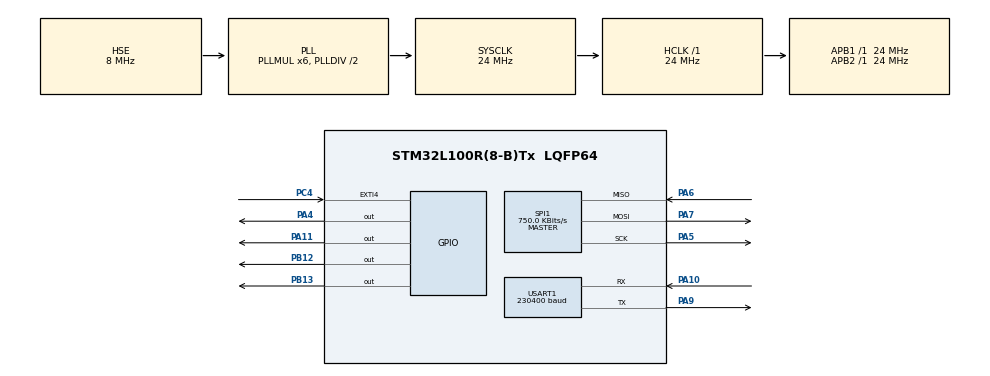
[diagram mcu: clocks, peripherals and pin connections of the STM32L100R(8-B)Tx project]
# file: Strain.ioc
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Mcu.Family=STM32L1
Mcu.Name=STM32L100R(8-B)Tx
Mcu.Package=LQFP64
NVIC.EXTI4_IRQn=true\:3\:0\:true\:false\:true\:true
NVIC.PriorityGroup=NVIC_PRIORITYGROUP_4
NVIC.RCC_IRQn=true\:0\:0\:false\:false\:true\:true
NVIC.SPI1_IRQn=true\:2\:0\:true\:false\:true\:true
NVIC.USART1_IRQn=true\:1\:0\:true\:false\:true\:true
PA10.Mode=Asynchronous
PA10.Signal=USART1_RX
PA11.GPIO_Speed=GPIO_SPEED_FREQ_VERY_HIGH
PA11.Signal=GPIO_Output
PA13.Mode=Serial_Wire
PA13.Signal=SYS_JTMS-SWDIO
PA14.Mode=Serial_Wire
PA14.Signal=SYS_JTCK-SWCLK
PA4.Signal=GPIO_Output
PA5.Mode=Full_Duplex_Master
PA5.Signal=SPI1_SCK
PA6.Mode=Full_Duplex_Master
PA6.Signal=SPI1_MISO
PA7.Mode=Full_Duplex_Master
PA7.Signal=SPI1_MOSI
PA9.Mode=Asynchronous
PA9.Signal=USART1_TX
PB12.Signal=GPIO_Output
PB13.Signal=GPIO_Output
PC4.Signal=GPXTI4
PH0-OSC_IN.Mode=HSE-External-Oscillator
PH0-OSC_IN.Signal=RCC_OSC_IN
PH1-OSC_OUT.Mode=HSE-External-Oscillator
PH1-OSC_OUT.Signal=RCC_OSC_OUT
ProjectManager.HeapSize=0x200
ProjectManager.StackSize=0x400
ProjectManager.TargetToolchain=MDK-ARM V5
RCC.48MHZClocksFreq_Value=24000000
RCC.AHBFreq_Value=24000000
RCC.APB1Freq_Value=24000000
RCC.APB1TimFreq_Value=24000000
RCC.APB2Freq_Value=24000000
RCC.APB2TimFreq_Value=24000000
RCC.HCLKFreq_Value=24000000
RCC.HSE_VALUE=8000000
RCC.HSI_VALUE=16000000
RCC.LSE_VALUE=32768
RCC.MSI_VALUE=2097000
RCC.PLLMUL=RCC_PLL_MUL6
RCC.PLLSourceVirtual=RCC_PLLSOURCE_HSE
RCC.SYSCLKFreq_VALUE=24000000
RCC.SYSCLKSource=RCC_SYSCLKSOURCE_PLLCLK
RCC.VCOOutputFreq_Value=48000000
SPI1.BaudRatePrescaler=SPI_BAUDRATEPRESCALER_32
SPI1.CLKPhase=SPI_PHASE_2EDGE
SPI1.CalculateBaudRate=750.0 KBits/s
SPI1.Direction=SPI_DIRECTION_2LINES
SPI1.Mode=SPI_MODE_MASTER
SPI1.VirtualType=VM_MASTER
USART1.BaudRate=230400
USART1.VirtualMode=VM_ASYNC
board=Strain

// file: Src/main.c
/**
  ******************************************************************************
  * @file           : main.c
  * @brief          : Main program body
  ******************************************************************************
  ** This notice applies to any and all portions of this file
  * that are not between comment pairs USER CODE BEGIN and
  * USER CODE END. Other portions of this file, whether
  * inserted by the user or by software development tools
  * are owned by their respective copyright owners.
  *
  * COPYRIGHT(c) 2018 STMicroelectronics
  *
  * Redistribution and use in source and binary forms, with or without modification,
  * are permitted provided that the following conditions are met:
  *   1. Redistributions of source code must retain the above copyright notice,
  *      this list of conditions and the following disclaimer.
  *   2. Redistributions in binary form must reproduce the above copyright notice,
  *      this list of conditions and the following disclaimer in the documentation
  *      and/or other materials provided with the distribution.
  *   3. Neither the name of STMicroelectronics nor the names of its contributors
  *      may be used to endorse or promote products derived from this software
  *      without specific prior written permission.
  *
  * THIS SOFTWARE IS PROVIDED BY THE COPYRIGHT HOLDERS AND CONTRIBUTORS "AS IS"
  * AND ANY EXPRESS OR IMPLIED WARRANTIES, INCLUDING, BUT NOT LIMITED TO, THE
  * IMPLIED WARRANTIES OF MERCHANTABILITY AND FITNESS FOR A PARTICULAR PURPOSE ARE
  * DISCLAIMED. IN NO EVENT SHALL THE COPYRIGHT HOLDER OR CONTRIBUTORS BE LIABLE
  * FOR ANY DIRECT, INDIRECT, INCIDENTAL, SPECIAL, EXEMPLARY, OR CONSEQUENTIAL
  * DAMAGES (INCLUDING, BUT NOT LIMITED TO, PROCUREMENT OF SUBSTITUTE GOODS OR
  * SERVICES; LOSS OF USE, DATA, OR PROFITS; OR BUSINESS INTERRUPTION) HOWEVER
  * CAUSED AND ON ANY THEORY OF LIABILITY, WHETHER IN CONTRACT, STRICT LIABILITY,
  * OR TORT (INCLUDING NEGLIGENCE OR OTHERWISE) ARISING IN ANY WAY OUT OF THE USE
  * OF THIS SOFTWARE, EVEN IF ADVISED OF THE POSSIBILITY OF SUCH DAMAGE.
  *
  ******************************************************************************
  */
#include "main.h"
#include "stm32l1xx_hal.h"

SPI_HandleTypeDef hspi1;

UART_HandleTypeDef huart1;

/* USER CODE BEGIN PV */
/* Private variables ---------------------------------------------------------*/
#define    DWT_CYCCNT    *(volatile unsigned long *)0xE0001004
#define    DWT_CONTROL   *(volatile unsigned long *)0xE0001000
#define    SCB_DEMCR     *(volatile unsigned long *)0xE000EDFC
uint32_t count_tic = 0;
uint8_t com0;
/* USER CODE END PV */

void SystemClock_Config(void);
static void MX_GPIO_Init(void);
static void MX_SPI1_Init(void);
static void MX_USART1_UART_Init(void);

/* USER CODE BEGIN PFP */
/* Private function prototypes -----------------------------------------------*/
void ADC_Config(void);

/* USER CODE END PFP */

int main(void)
{

  /* MCU Configuration----------------------------------------------------------*/

  /* Reset of all peripherals, Initializes the Flash interface and the Systick. */
  HAL_Init();

  /* Configure the system clock */
  SystemClock_Config();

  /* Initialize all configured peripherals */
  MX_GPIO_Init();
  MX_SPI1_Init();
  MX_USART1_UART_Init();
  /* USER CODE BEGIN 2 */

	USART1->CR1 |= USART_CR1_RXNEIE;
//	HAL_NVIC_EnableIRQ(EXTI4_IRQn);

	HAL_GPIO_WritePin(GPIOA, GPIO_PIN_4, GPIO_PIN_RESET); // CS = 0
	HAL_GPIO_WritePin(GPIOA, GPIO_PIN_11, GPIO_PIN_RESET);
	ADC_Config();

  /* USER CODE END 2 */

  /* Infinite loop */
  /* USER CODE BEGIN WHILE */
  while (1)
  {
//		uint8_t sync1 = 0x55;
  /* USER CODE END WHILE */

  /* USER CODE BEGIN 3 */
	HAL_UART_Receive_IT(&huart1, &com0, 1);
  }
  /* USER CODE END 3 */

}

void SystemClock_Config(void)
{

  RCC_OscInitTypeDef RCC_OscInitStruct;
  RCC_ClkInitTypeDef RCC_ClkInitStruct;

    /**Configure the main internal regulator output voltage
    */
  __HAL_PWR_VOLTAGESCALING_CONFIG(PWR_REGULATOR_VOLTAGE_SCALE1);

    /**Initializes the CPU, AHB and APB busses clocks
    */
  RCC_OscInitStruct.OscillatorType = RCC_OSCILLATORTYPE_HSE;
  RCC_OscInitStruct.HSEState = RCC_HSE_ON;
  RCC_OscInitStruct.PLL.PLLState = RCC_PLL_ON;
  RCC_OscInitStruct.PLL.PLLSource = RCC_PLLSOURCE_HSE;
  RCC_OscInitStruct.PLL.PLLMUL = RCC_PLL_MUL6;
  RCC_OscInitStruct.PLL.PLLDIV = RCC_PLL_DIV2;
  if (HAL_RCC_OscConfig(&RCC_OscInitStruct) != HAL_OK)
  {
    _Error_Handler(__FILE__, __LINE__);
  }

    /**Initializes the CPU, AHB and APB busses clocks
    */
  RCC_ClkInitStruct.ClockType = RCC_CLOCKTYPE_HCLK|RCC_CLOCKTYPE_SYSCLK
                              |RCC_CLOCKTYPE_PCLK1|RCC_CLOCKTYPE_PCLK2;
  RCC_ClkInitStruct.SYSCLKSource = RCC_SYSCLKSOURCE_PLLCLK;
  RCC_ClkInitStruct.AHBCLKDivider = RCC_SYSCLK_DIV1;
  RCC_ClkInitStruct.APB1CLKDivider = RCC_HCLK_DIV1;
  RCC_ClkInitStruct.APB2CLKDivider = RCC_HCLK_DIV1;

  if (HAL_RCC_ClockConfig(&RCC_ClkInitStruct, FLASH_LATENCY_1) != HAL_OK)
  {
    _Error_Handler(__FILE__, __LINE__);
  }

    /**Configure the Systick interrupt time
    */
  HAL_SYSTICK_Config(HAL_RCC_GetHCLKFreq()/1000);

    /**Configure the Systick
    */
  HAL_SYSTICK_CLKSourceConfig(SYSTICK_CLKSOURCE_HCLK);

  /* SysTick_IRQn interrupt configuration */
  HAL_NVIC_SetPriority(SysTick_IRQn, 0, 0);
}

/* SPI1 init function */
static void MX_SPI1_Init(void)
{

  /* SPI1 parameter configuration*/
  hspi1.Instance = SPI1;
  hspi1.Init.Mode = SPI_MODE_MASTER;
  hspi1.Init.Direction = SPI_DIRECTION_2LINES;
  hspi1.Init.DataSize = SPI_DATASIZE_8BIT;
  hspi1.Init.CLKPolarity = SPI_POLARITY_LOW;
  hspi1.Init.CLKPhase = SPI_PHASE_2EDGE;
  hspi1.Init.NSS = SPI_NSS_SOFT;
  hspi1.Init.BaudRatePrescaler = SPI_BAUDRATEPRESCALER_32;
  hspi1.Init.FirstBit = SPI_FIRSTBIT_MSB;
  hspi1.Init.TIMode = SPI_TIMODE_DISABLE;
  hspi1.Init.CRCCalculation = SPI_CRCCALCULATION_DISABLE;
  hspi1.Init.CRCPolynomial = 10;
  if (HAL_SPI_Init(&hspi1) != HAL_OK)
  {
    _Error_Handler(__FILE__, __LINE__);
  }

}

/* USART1 init function */
static void MX_USART1_UART_Init(void)
{

  huart1.Instance = USART1;
  huart1.Init.BaudRate = 460800;
  huart1.Init.WordLength = UART_WORDLENGTH_8B;
  huart1.Init.StopBits = UART_STOPBITS_1;
  huart1.Init.Parity = UART_PARITY_NONE;
  huart1.Init.Mode = UART_MODE_TX_RX;
  huart1.Init.HwFlowCtl = UART_HWCONTROL_NONE;
  huart1.Init.OverSampling = UART_OVERSAMPLING_16;
  if (HAL_UART_Init(&huart1) != HAL_OK)
  {
    _Error_Handler(__FILE__, __LINE__);
  }

}

/** Configure pins as
        * Analog
        * Input
        * Output
        * EVENT_OUT
        * EXTI
*/
static void MX_GPIO_Init(void)
{

  GPIO_InitTypeDef GPIO_InitStruct;

  /* GPIO Ports Clock Enable */
  __HAL_RCC_GPIOH_CLK_ENABLE();
  __HAL_RCC_GPIOA_CLK_ENABLE();
  __HAL_RCC_GPIOC_CLK_ENABLE();
  __HAL_RCC_GPIOB_CLK_ENABLE();

  /*Configure GPIO pin Output Level */
  HAL_GPIO_WritePin(GPIOA, GPIO_PIN_4|GPIO_PIN_11, GPIO_PIN_RESET);

  /*Configure GPIO pin Output Level */
  HAL_GPIO_WritePin(GPIOB, GPIO_PIN_12|GPIO_PIN_13, GPIO_PIN_RESET);

  /*Configure GPIO pin : PA4 */
  GPIO_InitStruct.Pin = GPIO_PIN_4;
  GPIO_InitStruct.Mode = GPIO_MODE_OUTPUT_PP;
  GPIO_InitStruct.Pull = GPIO_NOPULL;
  GPIO_InitStruct.Speed = GPIO_SPEED_FREQ_LOW;
  HAL_GPIO_Init(GPIOA, &GPIO_InitStruct);

  /*Configure GPIO pin : PC4 */
  GPIO_InitStruct.Pin = GPIO_PIN_4;
  GPIO_InitStruct.Mode = GPIO_MODE_IT_RISING;
  GPIO_InitStruct.Pull = GPIO_NOPULL;
  HAL_GPIO_Init(GPIOC, &GPIO_InitStruct);

  /*Configure GPIO pins : PB12 PB13 */
  GPIO_InitStruct.Pin = GPIO_PIN_12|GPIO_PIN_13;
  GPIO_InitStruct.Mode = GPIO_MODE_OUTPUT_PP;
  GPIO_InitStruct.Pull = GPIO_NOPULL;
  GPIO_InitStruct.Speed = GPIO_SPEED_FREQ_LOW;
  HAL_GPIO_Init(GPIOB, &GPIO_InitStruct);

  /*Configure GPIO pin : PA11 */
  GPIO_InitStruct.Pin = GPIO_PIN_11;
  GPIO_InitStruct.Mode = GPIO_MODE_OUTPUT_PP;
  GPIO_InitStruct.Pull = GPIO_NOPULL;
  GPIO_InitStruct.Speed = GPIO_SPEED_FREQ_VERY_HIGH;
  HAL_GPIO_Init(GPIOA, &GPIO_InitStruct);

  /* EXTI interrupt init*/
  HAL_NVIC_SetPriority(EXTI4_IRQn, 3, 0);
//  HAL_NVIC_EnableIRQ(EXTI4_IRQn);

}

/* USER CODE BEGIN 4 */
void ADC_Config(void)
{
	uint8_t wreg = 0x53, data = 0x00, byte1 = 0x00, sync = 0xFC, wakeup = 0x00, rreg = 0x10, rxData = 0x01, rst = 0xFE;
	uint8_t rregADCon = 0x12, adcon_data = 0x00;

//	EXTI->IMR |= EXTI_IMR_MR10; //Mask on EXTI4 (Line 10), DRDY interrupt is off

	HAL_SPI_Transmit(&hspi1, &rst, 1, 10); //RESET

	HAL_SPI_Transmit(&hspi1, &sync, 1, 10); //SYNC
	HAL_SPI_Transmit(&hspi1, &wakeup, 1, 10); //WAKE UP

	HAL_SPI_Transmit(&hspi1, &rreg, 1, 10); //RREG STATUS first byte
	HAL_SPI_Transmit(&hspi1, &byte1, 1, 10); //RREG STATUS second byte
	HAL_SPI_Receive(&hspi1, &rxData, 1, 10);  //get STATUS bits

	HAL_SPI_Transmit(&hspi1, &rregADCon, 1, 10); //RREG ADCON first byte
	HAL_SPI_Transmit(&hspi1, &byte1, 1, 10); //RREG ADCON second byte
	HAL_SPI_Receive(&hspi1, &adcon_data, 1, 10);  //get ADCON bits

	data = 0xD0; //Data rate = 7500 SpS = 7500 Hz
	HAL_SPI_Transmit(&hspi1, &wreg, 1, 10); //WREG DRATE first byte
	HAL_SPI_Transmit(&hspi1, &byte1, 1, 10); //WREG DRATE second byte
	HAL_SPI_Transmit(&hspi1, &data, 1, 10); //WREG DRATE third byte

//	EXTI->IMR &= ~(EXTI_IMR_MR10); //Mask on EXTI4 (Line 10), DRDY interrupt is on
}
/* USER CODE END 4 */

void _Error_Handler(char *file, int line)
{
  while(1)
  {
  }
}

/************************ (C) COPYRIGHT STMicroelectronics *****END OF FILE****/
